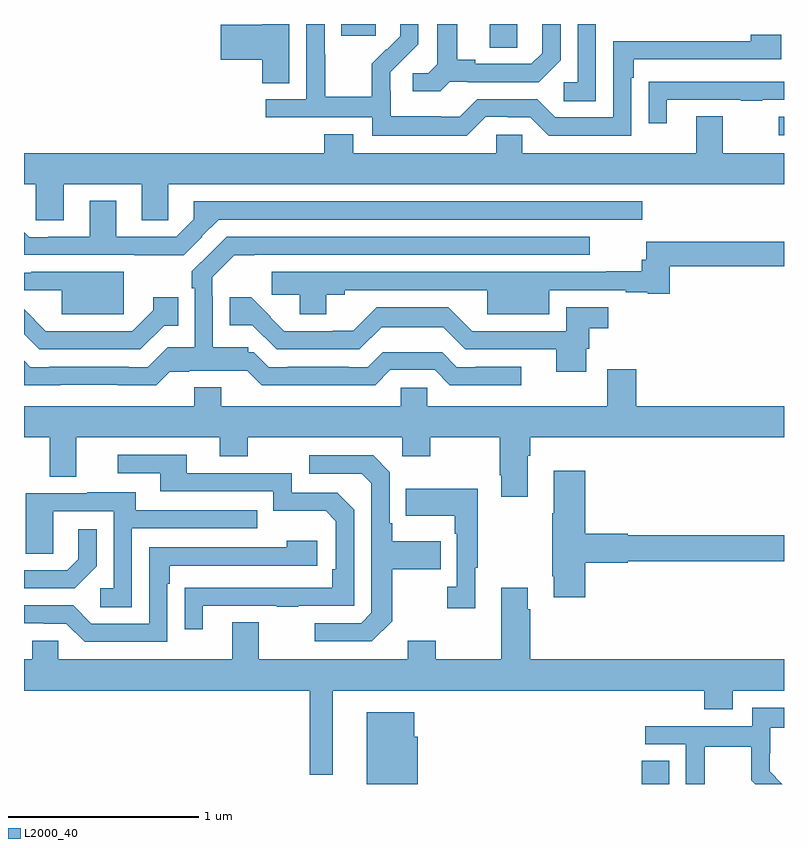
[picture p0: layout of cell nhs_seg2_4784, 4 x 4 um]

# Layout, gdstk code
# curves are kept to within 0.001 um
import gdstk
lib = gdstk.Library(unit=1e-6, precision=1e-09)
def R(c, l, rs):  # rectangles x0, y0, x1, y1
    for r in rs: c.add(gdstk.rectangle(r[:2], r[2:], *l))
def P(c, l, *ps):  # polygons
    for p in ps: c.add(gdstk.Polygon(p, *l))
L2000_40 = (2000, 40)

nhs_seg2_4784 = lib.new_cell('nhs_seg2_4784')
R(nhs_seg2_4784, L2000_40, [(374.252,657.8,374.395,657.923), (374.973,661.215,375,661.311), (373.451,661.675,373.596,661.8), (372.671,661.737,372.85,661.8)])
P(nhs_seg2_4784, L2000_40, [(373.242,661.497),(373.336,661.497),(373.336,661.494),(373.708,661.494),(373.824,661.61),(373.824,661.8),(373.727,661.8),(373.727,661.647),(373.67,661.59),(373.375,661.59),(373.375,661.613),(373.279,661.613),(373.279,661.8),(373.175,661.8),(373.175,661.589),(373.128,661.542),(373.047,661.542),(373.047,661.445),(373.19,661.445)],
  [(372.397,661.8),(372.254,661.8),(372.254,661.796),(372.036,661.796),(372.036,661.613),(372.254,661.613),(372.254,661.489),(372.397,661.489)],
  [(374.01,661.8),(373.914,661.8),(373.914,661.494),(373.842,661.494),(373.842,661.393),(374.01,661.393)],
  [(373.431,661.311),(373.547,661.311),(373.547,661.308),(373.665,661.308),(373.761,661.212),(374.196,661.212),(374.196,661.517),(374.209,661.517),(374.209,661.614),(374.986,661.614),(374.986,661.744),(374.825,661.744),(374.825,661.71),(374.1,661.71),(374.1,661.308),(373.797,661.308),(373.701,661.404),(373.386,661.404),(373.293,661.311),(373.193,661.311),(373.193,661.315),(372.93,661.315),(372.93,661.449),(372.928,661.449),(372.928,661.546),(373.074,661.694),(373.074,661.8),(372.98,661.8),(372.98,661.736),(372.909,661.665),(372.906,661.668),(372.829,661.591),(372.829,661.417),(372.585,661.417),(372.585,661.64),(372.582,661.64),(372.582,661.8),(372.486,661.8),(372.486,661.404),(372.273,661.404),(372.273,661.308),(372.834,661.308),(372.834,661.211),(373.331,661.211)],
  [(374.383,661.401),(374.773,661.401),(374.773,661.396),(374.885,661.396),(374.885,661.401),(375,661.401),(375,661.497),(374.389,661.497),(374.389,661.496),(374.287,661.496),(374.287,661.278),(374.383,661.278)],
  [(371.209,660.956),(371.621,660.956),(371.621,660.766),(371.76,660.766),(371.76,660.956),(375,660.956),(375,661.12),(374.677,661.12),(374.677,661.315),(374.537,661.315),(374.537,661.12),(373.623,661.12),(373.623,661.218),(373.485,661.218),(373.485,661.12),(372.733,661.12),(372.733,661.219),(372.581,661.219),(372.581,661.12),(371,661.12),(371,660.956),(371.062,660.956),(371.062,660.766),(371.209,660.766)],
  [(371.939,660.68),(371.936,660.683),(372.024,660.771),(374.254,660.771),(374.254,660.867),(371.893,660.867),(371.893,660.772),(371.802,660.681),(371.485,660.681),(371.485,660.871),(371.345,660.871),(371.345,660.681),(371.128,660.681),(371.128,660.678),(371.028,660.678),(371.002,660.704),(371,660.704),(371,660.585),(371.581,660.585),(371.581,660.583),(371.841,660.583)],
  [(371.192,659.901),(371.696,659.9),(371.766,659.971),(371.869,659.971),(371.869,659.975),(372.175,659.975),(372.25,659.9),(372.848,659.9),(372.927,659.979),(373.161,659.979),(373.24,659.9),(373.618,659.9),(373.618,659.997),(373.378,659.997),(373.378,659.994),(373.278,659.994),(373.2,660.072),(372.888,660.072),(372.81,659.994),(372.71,659.994),(372.71,659.997),(372.388,659.997),(372.388,659.994),(372.288,659.994),(372.21,660.072),(372.18,660.072),(372.18,660.099),(371.994,660.099),(371.994,660.368),(371.991,660.368),(371.991,660.467),(372.107,660.583),(372.211,660.583),(372.211,660.585),(373.978,660.585),(373.978,660.681),(372.068,660.681),(371.883,660.498),(371.883,660.41),(371.898,660.41),(371.898,660.099),(371.757,660.099),(371.652,659.994),(371.552,659.994),(371.552,659.997),(371.134,659.997),(371.134,659.994),(371.034,659.994),(371,660.028),(371,659.9)],
  [(372.592,660.374),(372.687,660.374),(372.687,660.399),(373.439,660.399),(373.439,660.272),(373.765,660.272),(373.765,660.399),(374.168,660.399),(374.168,660.387),(374.282,660.387),(374.282,660.379),(374.399,660.379),(374.399,660.526),(375,660.526),(375,660.655),(374.276,660.655),(374.276,660.558),(374.252,660.558),(374.252,660.5),(374.065,660.5),(374.065,660.495),(372.587,660.495),(372.587,660.496),(372.303,660.496),(372.303,660.376),(372.452,660.376),(372.452,660.272),(372.592,660.272)],
  [(371.524,660.496),(371.302,660.496),(371.302,660.495),(371.038,660.495),(371.038,660.492),(371,660.492),(371,660.399),(371.198,660.399),(371.198,660.272),(371.524,660.272)],
  [(373.96,660.09),(373.975,660.09),(373.975,660.2),(374.074,660.2),(374.074,660.31),(373.853,660.31),(373.853,660.183),(373.359,660.183),(373.232,660.31),(372.857,660.31),(372.732,660.185),(372.626,660.185),(372.626,660.183),(372.369,660.183),(372.295,660.257),(372.298,660.26),(372.197,660.361),(372.083,660.361),(372.083,660.215),(372.201,660.215),(372.329,660.087),(372.765,660.087),(372.882,660.204),(373.206,660.204),(373.323,660.087),(373.802,660.087),(373.802,659.97),(373.96,659.97)],
  [(371.737,660.213),(371.813,660.213),(371.813,660.361),(371.681,660.361),(371.681,660.293),(371.571,660.183),(371.115,660.183),(371,660.298),(371,660.166),(371.079,660.087),(371.611,660.087)],
  [(375,659.788),(374.222,659.788),(374.222,659.983),(374.069,659.983),(374.069,659.788),(373.122,659.788),(373.122,659.886),(372.984,659.886),(372.984,659.788),(372.037,659.788),(372.037,659.887),(371.897,659.887),(371.897,659.788),(371,659.788),(371,659.624),(371.135,659.624),(371.135,659.416),(371.275,659.416),(371.275,659.624),(372.029,659.624),(372.029,659.525),(372.177,659.525),(372.177,659.624),(372.99,659.624),(372.99,659.525),(373.137,659.525),(373.137,659.624),(373.504,659.624),(373.504,659.425),(373.511,659.425),(373.511,659.313),(373.651,659.313),(373.651,659.528),(373.664,659.528),(373.664,659.624),(375,659.624)],
  [(371.941,658.737),(372.331,658.737),(372.331,658.732),(372.443,658.732),(372.443,658.737),(372.738,658.737),(372.738,659.244),(372.648,659.334),(372.408,659.334),(372.408,659.436),(371.857,659.436),(371.857,659.532),(371.493,659.532),(371.493,659.436),(371.717,659.436),(371.717,659.34),(372.312,659.34),(372.312,659.237),(372.589,659.237),(372.642,659.184),(372.642,658.93),(372.622,658.93),(372.622,658.833),(371.845,658.832),(371.845,658.614),(371.941,658.614)],
  [(372.937,658.657),(372.937,658.93),(373.193,658.93),(373.193,659.077),(372.937,659.077),(372.937,659.173),(372.924,659.173),(372.924,659.442),(372.837,659.529),(372.501,659.529),(372.501,659.433),(372.777,659.433),(372.828,659.382),(372.828,658.701),(372.774,658.647),(372.531,658.647),(372.531,658.551),(372.831,658.551)],
  [(373.955,658.964),(374.178,658.964),(374.178,658.972),(375,658.972),(375,659.108),(374.178,659.108),(374.178,659.116),(373.955,659.116),(373.955,659.449),(373.787,659.449),(373.787,659.225),(373.78,659.225),(373.78,658.894),(373.787,658.894),(373.787,658.782),(373.955,658.782)],
  [(373.375,658.937),(373.387,658.937),(373.387,659.353),(373.009,659.353),(373.009,659.213),(373.266,659.213),(373.266,659.117),(373.278,659.117),(373.278,658.838),(373.227,658.838),(373.227,658.725),(373.375,658.725)],
  [(371.568,659.145),(372.227,659.145),(372.227,659.241),(371.587,659.241),(371.587,659.335),(371.333,659.335),(371.333,659.331),(371.009,659.331),(371.009,659.011),(371.154,659.011),(371.154,659.235),(371.472,659.235),(371.472,658.83),(371.4,658.83),(371.4,658.729),(371.568,658.729)],
  [(371.382,658.946),(371.382,659.14),(371.285,659.14),(371.285,658.983),(371.228,658.926),(371,658.926),(371,658.83),(371.266,658.83)],
  [(371.754,658.853),(371.767,658.853),(371.767,658.95),(372.544,658.95),(372.544,659.08),(372.383,659.08),(372.383,659.046),(371.658,659.046),(371.658,658.644),(371.355,658.644),(371.259,658.74),(371,658.74),(371,658.647),(371.105,658.647),(371.105,658.644),(371.223,658.644),(371.319,658.548),(371.754,658.548)],
  [(372.625,658.292),(374.579,658.292),(374.579,658.193),(374.731,658.193),(374.731,658.292),(375,658.292),(375,658.456),(373.664,658.456),(373.664,658.721),(373.651,658.721),(373.651,658.834),(373.511,658.834),(373.511,658.456),(373.167,658.456),(373.167,658.555),(373.019,658.555),(373.019,658.456),(372.235,658.456),(372.235,658.651),(372.095,658.651),(372.095,658.456),(371.181,658.456),(371.181,658.554),(371.043,658.554),(371.043,658.456),(371,658.456),(371,658.292),(372.504,658.292),(372.504,657.848),(372.625,657.848)],
  [(374.583,657.996),(374.827,657.996),(374.827,657.821),(374.848,657.8),(374.992,657.8),(374.926,657.866),(374.926,657.963),(374.928,657.963),(374.928,658.097),(375,658.097),(375,658.201),(374.832,658.201),(374.832,658.104),(374.271,658.104),(374.271,658.008),(374.484,658.008),(374.484,657.8),(374.583,657.8)],
  [(373.072,658.05),(373.054,658.05),(373.054,658.177),(372.803,658.177),(372.803,657.8),(373.072,657.8)])

lib.write_gds('nhs_seg2_4784.gds')
